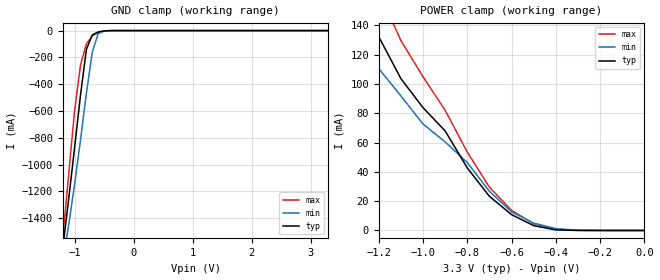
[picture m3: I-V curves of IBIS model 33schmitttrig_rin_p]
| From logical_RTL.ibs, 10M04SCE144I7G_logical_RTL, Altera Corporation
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|MODEL 33schmitttrig_rin_p
[Model]   33schmitttrig_rin_p
Model_type   Input
Polarity   Non-Inverting
Vinl   = 0.800
Vinh   = 1.700
C_comp 4.5pF   4.5pF   4.5pF
[Model Spec]
Vinh   1.700   1.700   1.700
Vinl   0.800   0.800   0.800
[Temperature Range]   25   100   -40
[Voltage Range]   3.300   3.085   3.465
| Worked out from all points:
|   GND clamp passes 1 mA (typ) near -0.44 V on its own axis
|   POWER clamp passes 1 mA (typ) near -0.42 V on its own axis
[GND Clamp]
| voltage   I (typ)   I (min)   I (max)
-3.3V     -8.619A    -7.629A    -10.51A
-1.2V     -1.623A    -1.724A    -1.549A
-1.1V     -1.258A    -1.45A     -1.073A
-1V       -874.3mA   -1.148A    -597.4mA
-900mV    -483mA     -818mA     -257.7mA
-800mV    -141mA     -468.4mA   -98.63mA
-700mV    -32.06mA   -160.8mA   -39.96mA
-600mV    -10.6mA    -22.19mA   -15.19mA
-500mV    -2.181mA   -3.852mA   -3.947mA
3.3V      0A         0A         0A
[Power Clamp]
| voltage   I (typ)   I (min)   I (max)
-3.3V     557.2mA    469.8mA    699mA
-1.4V     165.1mA    141.5mA    205mA
-1.2V     132.2mA    110.4mA    163.1mA
-1.1V     103.6mA    91.81mA    129.5mA
-1V       83.78mA    72.63mA    104.9mA
-900mV    67.9mA     60.42mA    81.96mA
-800mV    42.69mA    46.31mA    53.49mA
-700mV    23.3mA     26.7mA     29.53mA
-600mV    10.8mA     12.72mA    13.7mA
-500mV    3.298mA    5.021mA    4.567mA
-400mV    388.6uA    1.236mA    871.9uA
0V        0A         0A         0A
